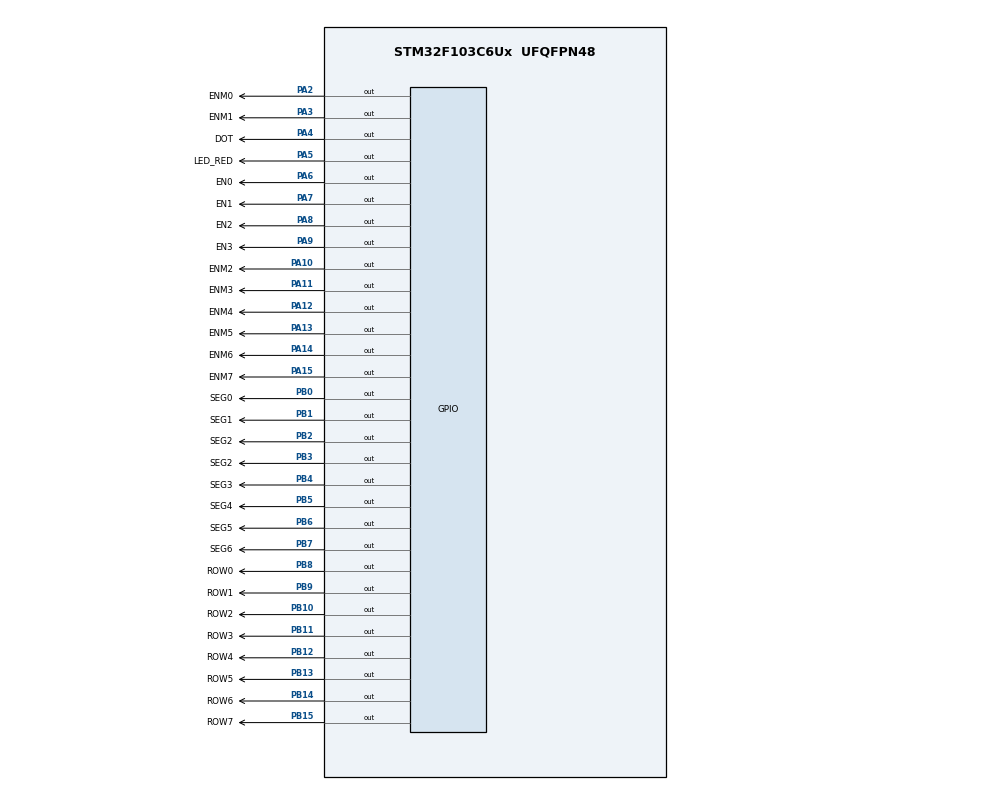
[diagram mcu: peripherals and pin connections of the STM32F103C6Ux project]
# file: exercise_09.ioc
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Mcu.Family=STM32F1
Mcu.Name=STM32F103C6Ux
Mcu.Package=UFQFPN48
NVIC.PriorityGroup=NVIC_PRIORITYGROUP_4
NVIC.TIM2_IRQn=true\:0\:0\:false\:false\:true\:true\:true\:true
PA10.GPIO_Label=ENM2
PA10.Signal=GPIO_Output
PA11.GPIO_Label=ENM3
PA11.Signal=GPIO_Output
PA12.GPIO_Label=ENM4
PA12.Signal=GPIO_Output
PA13.GPIO_Label=ENM5
PA13.Signal=GPIO_Output
PA14.GPIO_Label=ENM6
PA14.Signal=GPIO_Output
PA15.GPIO_Label=ENM7
PA15.Signal=GPIO_Output
PA2.GPIO_Label=ENM0
PA2.Signal=GPIO_Output
PA3.GPIO_Label=ENM1
PA3.Signal=GPIO_Output
PA4.GPIO_Label=DOT
PA4.Signal=GPIO_Output
PA5.GPIO_Label=LED_RED
PA5.Signal=GPIO_Output
PA6.GPIO_Label=EN0
PA6.Signal=GPIO_Output
PA7.GPIO_Label=EN1
PA7.Signal=GPIO_Output
PA8.GPIO_Label=EN2
PA8.Signal=GPIO_Output
PA9.GPIO_Label=EN3
PA9.Signal=GPIO_Output
PB0.GPIO_Label=SEG0
PB0.Signal=GPIO_Output
PB1.GPIO_Label=SEG1
PB1.Signal=GPIO_Output
PB10.GPIO_Label=ROW2
PB10.Signal=GPIO_Output
PB11.GPIO_Label=ROW3
PB11.Signal=GPIO_Output
PB12.GPIO_Label=ROW4
PB12.Signal=GPIO_Output
PB13.GPIO_Label=ROW5
PB13.Signal=GPIO_Output
PB14.GPIO_Label=ROW6
PB14.Signal=GPIO_Output
PB15.GPIO_Label=ROW7
PB15.Signal=GPIO_Output
PB2.GPIO_Label=SEG2
PB2.Signal=GPIO_Output
PB3.GPIO_Label=SEG2
PB3.Signal=GPIO_Output
PB4.GPIO_Label=SEG3
PB4.Signal=GPIO_Output
PB5.GPIO_Label=SEG4
PB5.Signal=GPIO_Output
PB6.GPIO_Label=SEG5
PB6.Signal=GPIO_Output
PB7.GPIO_Label=SEG6
PB7.Signal=GPIO_Output
PB8.GPIO_Label=ROW0
PB8.Signal=GPIO_Output
PB9.GPIO_Label=ROW1
PB9.Signal=GPIO_Output
ProjectManager.HeapSize=0x200
ProjectManager.StackSize=0x400
ProjectManager.TargetToolchain=CMake
RCC.APB1Freq_Value=8000000
RCC.APB2Freq_Value=8000000
TIM2.Period=9
TIM2.Prescaler=7999
VP_SYS_VS_ND.Mode=No_Debug
VP_TIM2_VS_ClockSourceINT.Mode=Internal
board=custom

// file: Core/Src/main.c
/* USER CODE BEGIN Header */
/**
 ******************************************************************************
 * @file           : main.c
 * @brief          : Main program body
 ******************************************************************************
 * @attention
 *
 * Copyright (c) 2025 STMicroelectronics.
 * All rights reserved.
 *
 * This software is licensed under terms that can be found in the LICENSE file
 * in the root directory of this software component.
 * If no LICENSE file comes with this software, it is provided AS-IS.
 *
 ******************************************************************************
 */
/* USER CODE END Header */
#include "main.h"

TIM_HandleTypeDef htim2;

/* USER CODE BEGIN PV */
int hour = 11;
int minute = 8;
int second = 0;

// Variable for 7-segment display
const int MAX_LED = 4;
int index_led = 0;
int led_buffer[4] = {0, 0, 0, 0};

// Variable for timer
int timer_counter = 0;
int timer0_flag = 0;

int timer1_counter = 0;
int timer1_flag = 0;

int timer2_counter = 0;
int timer2_flag = 0;

int TIMER_PERIOD = 10;

// Variable for LED matrix
const int MAX_LED_MATRIX = 8;
int index_led_matrix = 0;

// Buffer to display the character 'A'
uint8_t matrix_buffer[8] = {
    0b00111100,
    0b01000010,
    0b01000010,
    0b01111110,
    0b01000010,
    0b01000010,
    0b01000010,
    0b00000000
};

// Animation state
int scroll_offset = -8;
int scroll_dir = +1;

/* USER CODE END PV */

void SystemClock_Config(void);
static void MX_GPIO_Init(void);
static void MX_TIM2_Init(void);

/* USER CODE BEGIN 0 */
// 7SEG functions
/**
 * @brief  Displays a single digit (0-9) on a 7-segment display by controlling the segment pins.
 * @param  num: The digit to display (0-9).
 * @retval None
 */
static inline void display7SEG(int num)
{
    switch (num)
    {
    case 0: // A B C D E F ON, G OFF
        HAL_GPIO_WritePin(SEG0_GPIO_Port, SEG0_Pin, GPIO_PIN_RESET);
        HAL_GPIO_WritePin(SEG1_GPIO_Port, SEG1_Pin, GPIO_PIN_RESET);
        HAL_GPIO_WritePin(SEG2_GPIO_Port, SEG2_Pin, GPIO_PIN_RESET);
        HAL_GPIO_WritePin(SEG3_GPIO_Port, SEG3_Pin, GPIO_PIN_RESET);
        HAL_GPIO_WritePin(SEG4_GPIO_Port, SEG4_Pin, GPIO_PIN_RESET);
        HAL_GPIO_WritePin(SEG5_GPIO_Port, SEG5_Pin, GPIO_PIN_RESET);
        HAL_GPIO_WritePin(SEG6_GPIO_Port, SEG6_Pin, GPIO_PIN_SET);
        break;
    case 1: // B C ON
        HAL_GPIO_WritePin(SEG0_GPIO_Port, SEG0_Pin, GPIO_PIN_SET);
        HAL_GPIO_WritePin(SEG1_GPIO_Port, SEG1_Pin, GPIO_PIN_RESET);
        HAL_GPIO_WritePin(SEG2_GPIO_Port, SEG2_Pin, GPIO_PIN_RESET);
        HAL_GPIO_WritePin(SEG3_GPIO_Port, SEG3_Pin, GPIO_PIN_SET);
        HAL_GPIO_WritePin(SEG4_GPIO_Port, SEG4_Pin, GPIO_PIN_SET);
        HAL_GPIO_WritePin(SEG5_GPIO_Port, SEG5_Pin, GPIO_PIN_SET);
        HAL_GPIO_WritePin(SEG6_GPIO_Port, SEG6_Pin, GPIO_PIN_SET);
        break;
    case 2: // A B D E G ON
        HAL_GPIO_WritePin(SEG0_GPIO_Port, SEG0_Pin, GPIO_PIN_RESET);
        HAL_GPIO_WritePin(SEG1_GPIO_Port, SEG1_Pin, GPIO_PIN_RESET);
        HAL_GPIO_WritePin(SEG2_GPIO_Port, SEG2_Pin, GPIO_PIN_SET);
        HAL_GPIO_WritePin(SEG3_GPIO_Port, SEG3_Pin, GPIO_PIN_RESET);
        HAL_GPIO_WritePin(SEG4_GPIO_Port, SEG4_Pin, GPIO_PIN_RESET);
        HAL_GPIO_WritePin(SEG5_GPIO_Port, SEG5_Pin, GPIO_PIN_SET);
        HAL_GPIO_WritePin(SEG6_GPIO_Port, SEG6_Pin, GPIO_PIN_RESET);
        break;
    case 3: // A B C D G ON
        HAL_GPIO_WritePin(SEG0_GPIO_Port, SEG0_Pin, GPIO_PIN_RESET);
        HAL_GPIO_WritePin(SEG1_GPIO_Port, SEG1_Pin, GPIO_PIN_RESET);
        HAL_GPIO_WritePin(SEG2_GPIO_Port, SEG2_Pin, GPIO_PIN_RESET);
        HAL_GPIO_WritePin(SEG3_GPIO_Port, SEG3_Pin, GPIO_PIN_RESET);
        HAL_GPIO_WritePin(SEG4_GPIO_Port, SEG4_Pin, GPIO_PIN_SET);
        HAL_GPIO_WritePin(SEG5_GPIO_Port, SEG5_Pin, GPIO_PIN_SET);
        HAL_GPIO_WritePin(SEG6_GPIO_Port, SEG6_Pin, GPIO_PIN_RESET);
        break;
    case 4: // B C F G ON
        HAL_GPIO_WritePin(SEG0_GPIO_Port, SEG0_Pin, GPIO_PIN_SET);
        HAL_GPIO_WritePin(SEG1_GPIO_Port, SEG1_Pin, GPIO_PIN_RESET);
        HAL_GPIO_WritePin(SEG2_GPIO_Port, SEG2_Pin, GPIO_PIN_RESET);
        HAL_GPIO_WritePin(SEG3_GPIO_Port, SEG3_Pin, GPIO_PIN_SET);
        HAL_GPIO_WritePin(SEG4_GPIO_Port, SEG4_Pin, GPIO_PIN_SET);
        HAL_GPIO_WritePin(SEG5_GPIO_Port, SEG5_Pin, GPIO_PIN_RESET);
        HAL_GPIO_WritePin(SEG6_GPIO_Port, SEG6_Pin, GPIO_PIN_RESET);
        break;
    case 5: // A C D F G ON
        HAL_GPIO_WritePin(SEG0_GPIO_Port, SEG0_Pin, GPIO_PIN_RESET);
        HAL_GPIO_WritePin(SEG1_GPIO_Port, SEG1_Pin, GPIO_PIN_SET);
        HAL_GPIO_WritePin(SEG2_GPIO_Port, SEG2_Pin, GPIO_PIN_RESET);
        HAL_GPIO_WritePin(SEG3_GPIO_Port, SEG3_Pin, GPIO_PIN_RESET);
        HAL_GPIO_WritePin(SEG4_GPIO_Port, SEG4_Pin, GPIO_PIN_SET);
        HAL_GPIO_WritePin(SEG5_GPIO_Port, SEG5_Pin, GPIO_PIN_RESET);
        HAL_GPIO_WritePin(SEG6_GPIO_Port, SEG6_Pin, GPIO_PIN_RESET);
        break;
    case 6: // A C D E F G ON
        HAL_GPIO_WritePin(SEG0_GPIO_Port, SEG0_Pin, GPIO_PIN_RESET);
        HAL_GPIO_WritePin(SEG1_GPIO_Port, SEG1_Pin, GPIO_PIN_SET);
        HAL_GPIO_WritePin(SEG2_GPIO_Port, SEG2_Pin, GPIO_PIN_RESET);
        HAL_GPIO_WritePin(SEG3_GPIO_Port, SEG3_Pin, GPIO_PIN_RESET);
        HAL_GPIO_WritePin(SEG4_GPIO_Port, SEG4_Pin, GPIO_PIN_RESET);
        HAL_GPIO_WritePin(SEG5_GPIO_Port, SEG5_Pin, GPIO_PIN_RESET);
        HAL_GPIO_WritePin(SEG6_GPIO_Port, SEG6_Pin, GPIO_PIN_RESET);
        break;
    case 7: // A B C ON
        HAL_GPIO_WritePin(SEG0_GPIO_Port, SEG0_Pin, GPIO_PIN_RESET);
        HAL_GPIO_WritePin(SEG1_GPIO_Port, SEG1_Pin, GPIO_PIN_RESET);
        HAL_GPIO_WritePin(SEG2_GPIO_Port, SEG2_Pin, GPIO_PIN_RESET);
        HAL_GPIO_WritePin(SEG3_GPIO_Port, SEG3_Pin, GPIO_PIN_SET);
        HAL_GPIO_WritePin(SEG4_GPIO_Port, SEG4_Pin, GPIO_PIN_SET);
        HAL_GPIO_WritePin(SEG5_GPIO_Port, SEG5_Pin, GPIO_PIN_SET);
        HAL_GPIO_WritePin(SEG6_GPIO_Port, SEG6_Pin, GPIO_PIN_SET);
        break;
    case 8: // A B C D E F G ON
        HAL_GPIO_WritePin(SEG0_GPIO_Port, SEG0_Pin, GPIO_PIN_RESET);
        HAL_GPIO_WritePin(SEG1_GPIO_Port, SEG1_Pin, GPIO_PIN_RESET);
        HAL_GPIO_WritePin(SEG2_GPIO_Port, SEG2_Pin, GPIO_PIN_RESET);
        HAL_GPIO_WritePin(SEG3_GPIO_Port, SEG3_Pin, GPIO_PIN_RESET);
        HAL_GPIO_WritePin(SEG4_GPIO_Port, SEG4_Pin, GPIO_PIN_RESET);
        HAL_GPIO_WritePin(SEG5_GPIO_Port, SEG5_Pin, GPIO_PIN_RESET);
        HAL_GPIO_WritePin(SEG6_GPIO_Port, SEG6_Pin, GPIO_PIN_RESET);
        break;
    case 9: // A B C D F G ON
        HAL_GPIO_WritePin(SEG0_GPIO_Port, SEG0_Pin, GPIO_PIN_RESET);
        HAL_GPIO_WritePin(SEG1_GPIO_Port, SEG1_Pin, GPIO_PIN_RESET);
        HAL_GPIO_WritePin(SEG2_GPIO_Port, SEG2_Pin, GPIO_PIN_RESET);
        HAL_GPIO_WritePin(SEG3_GPIO_Port, SEG3_Pin, GPIO_PIN_RESET);
        HAL_GPIO_WritePin(SEG4_GPIO_Port, SEG4_Pin, GPIO_PIN_SET);
        HAL_GPIO_WritePin(SEG5_GPIO_Port, SEG5_Pin, GPIO_PIN_RESET);
        HAL_GPIO_WritePin(SEG6_GPIO_Port, SEG6_Pin, GPIO_PIN_RESET);
        break;
    default: // All OFF
        HAL_GPIO_WritePin(SEG0_GPIO_Port, SEG0_Pin, GPIO_PIN_SET);
        HAL_GPIO_WritePin(SEG1_GPIO_Port, SEG1_Pin, GPIO_PIN_SET);
        HAL_GPIO_WritePin(SEG2_GPIO_Port, SEG2_Pin, GPIO_PIN_SET);
        HAL_GPIO_WritePin(SEG3_GPIO_Port, SEG3_Pin, GPIO_PIN_SET);
        HAL_GPIO_WritePin(SEG4_GPIO_Port, SEG4_Pin, GPIO_PIN_SET);
        HAL_GPIO_WritePin(SEG5_GPIO_Port, SEG5_Pin, GPIO_PIN_SET);
        HAL_GPIO_WritePin(SEG6_GPIO_Port, SEG6_Pin, GPIO_PIN_SET);
        break;
    }
}

/**
 * @brief  Disables all 7-segment displays by setting their enable pins high.
 * @retval None
 */
static inline void disable_all_7seg(void)
{
    HAL_GPIO_WritePin(EN0_GPIO_Port, EN0_Pin, GPIO_PIN_SET);
    HAL_GPIO_WritePin(EN1_GPIO_Port, EN1_Pin, GPIO_PIN_SET);
    HAL_GPIO_WritePin(EN2_GPIO_Port, EN2_Pin, GPIO_PIN_SET);
    HAL_GPIO_WritePin(EN3_GPIO_Port, EN3_Pin, GPIO_PIN_SET);
}

/**
 * @brief  Enables the specified 7-segment display based on the given index.
 * @param  idx: The index of the 7-segment display to enable (0 to 3).
 * @retval None
 */
static inline void enable_7seg_idx(uint8_t idx)
{
    switch (idx)
    {
    case 0:
        HAL_GPIO_WritePin(EN0_GPIO_Port, EN0_Pin, GPIO_PIN_RESET);
        break;
    case 1:
        HAL_GPIO_WritePin(EN1_GPIO_Port, EN1_Pin, GPIO_PIN_RESET);
        break;
    case 2:
        HAL_GPIO_WritePin(EN2_GPIO_Port, EN2_Pin, GPIO_PIN_RESET);
        break;
    case 3:
        HAL_GPIO_WritePin(EN3_GPIO_Port, EN3_Pin, GPIO_PIN_RESET);
        break;
    }
}

/**
 * @brief  Updates the specified 7-segment display with the corresponding value from led_buffer.
 * @param  index: The index of the 7-segment display to update (0 to 3).
 * @retval None
 */
void update7SEG(int index)
{
    // First, turn off all segment drivers to prevent "ghosting"
    disable_all_7seg();

    // Use the index to select which 7-segment display to activate
    // and which number from the buffer to show.
    switch (index)
    {
    case 0:
        // Display the first number (led_buffer[0]) on the first 7-segment display
        display7SEG(led_buffer[0]);
        enable_7seg_idx(0);
        break;

    case 1:
        // Display the second number (led_buffer[1]) on the second 7-segment display
        display7SEG(led_buffer[1]);
        enable_7seg_idx(1);
        break;

    case 2:
        // Display the third number (led_buffer[2]) on the third 7-segment display
        display7SEG(led_buffer[2]);
        enable_7seg_idx(2);
        break;

    case 3:
        // Display the fourth number (led_buffer[3]) on the fourth 7-segment display
        display7SEG(led_buffer[3]);
        enable_7seg_idx(3);
        break;

    default:
        break;
    }
}

/**
 * @brief  Populates the led_buffer array with the correct digits for the clock.
 * @retval None
 */
void updateClockBuffer()
{
    led_buffer[0] = hour / 10;
    led_buffer[1] = hour % 10;

    led_buffer[2] = minute / 10;
    led_buffer[3] = minute % 10;
}

// Timer functions
void setTimer0(int duration)
{
    timer_counter = duration / TIMER_PERIOD;
    timer0_flag = 0;
}

void timer_run(void)
{
    if (timer_counter > 0)
    {
        timer_counter--;
        if (timer_counter == 0)
        {
            timer0_flag = 1;
        }
    }
}

void setTimer1(int duration)
{
    timer1_counter = duration / TIMER_PERIOD;
    timer1_flag = 0;
}

void timer1_run(void)
{
    if (timer1_counter > 0)
    {
        timer1_counter--;
        if (timer1_counter == 0)
        {
            timer1_flag = 1;
        }
    }
}

void setTimer2(int duration)
{
    timer2_counter = duration / TIMER_PERIOD;
    timer2_flag = 0;
}

void timer2_run(void)
{
    if (timer2_counter > 0)
    {
        timer2_counter--;
        if (timer2_counter == 0)
        {
            timer2_flag = 1;
        }
    }
}

// LED matrix functions
static inline void setRow(uint8_t idx, GPIO_PinState pinState)
{
    switch (idx)
    {
    case 0:
        HAL_GPIO_WritePin(ROW0_GPIO_Port, ROW0_Pin, pinState);
        break;
    case 1:
        HAL_GPIO_WritePin(ROW1_GPIO_Port, ROW1_Pin, pinState);
        break;
    case 2:
        HAL_GPIO_WritePin(ROW2_GPIO_Port, ROW2_Pin, pinState);
        break;
    case 3:
        HAL_GPIO_WritePin(ROW3_GPIO_Port, ROW3_Pin, pinState);
        break;
    case 4:
        HAL_GPIO_WritePin(ROW4_GPIO_Port, ROW4_Pin, pinState);
        break;
    case 5:
        HAL_GPIO_WritePin(ROW5_GPIO_Port, ROW5_Pin, pinState);
        break;
    case 6:
        HAL_GPIO_WritePin(ROW6_GPIO_Port, ROW6_Pin, pinState);
        break;
    case 7:
        HAL_GPIO_WritePin(ROW7_GPIO_Port, ROW7_Pin, pinState);
        break;
    }
}

void displayMatrixRow(uint8_t value)
{
    for (uint8_t i = 0; i < 8; i++)
    {
        GPIO_PinState pinState = (value & (1U << i)) ? GPIO_PIN_RESET : GPIO_PIN_SET;
        setRow(i, pinState);
    }
}

static inline void disableAllMatrixCols(void)
{
    HAL_GPIO_WritePin(ENM0_GPIO_Port, ENM0_Pin, GPIO_PIN_SET);
    HAL_GPIO_WritePin(ENM1_GPIO_Port, ENM1_Pin, GPIO_PIN_SET);
    HAL_GPIO_WritePin(ENM2_GPIO_Port, ENM2_Pin, GPIO_PIN_SET);
    HAL_GPIO_WritePin(ENM3_GPIO_Port, ENM3_Pin, GPIO_PIN_SET);
    HAL_GPIO_WritePin(ENM4_GPIO_Port, ENM4_Pin, GPIO_PIN_SET);
    HAL_GPIO_WritePin(ENM5_GPIO_Port, ENM5_Pin, GPIO_PIN_SET);
    HAL_GPIO_WritePin(ENM6_GPIO_Port, ENM6_Pin, GPIO_PIN_SET);
    HAL_GPIO_WritePin(ENM7_GPIO_Port, ENM7_Pin, GPIO_PIN_SET);
}

static inline void enableMatrixCol(int index)
{
    switch (index)
    {
    case 0:
        HAL_GPIO_WritePin(ENM0_GPIO_Port, ENM0_Pin, GPIO_PIN_RESET);
        break;
    case 1:
        HAL_GPIO_WritePin(ENM1_GPIO_Port, ENM1_Pin, GPIO_PIN_RESET);
        break;
    case 2:
        HAL_GPIO_WritePin(ENM2_GPIO_Port, ENM2_Pin, GPIO_PIN_RESET);
        break;
    case 3:
        HAL_GPIO_WritePin(ENM3_GPIO_Port, ENM3_Pin, GPIO_PIN_RESET);
        break;
    case 4:
        HAL_GPIO_WritePin(ENM4_GPIO_Port, ENM4_Pin, GPIO_PIN_RESET);
        break;
    case 5:
        HAL_GPIO_WritePin(ENM5_GPIO_Port, ENM5_Pin, GPIO_PIN_RESET);
        break;
    case 6:
        HAL_GPIO_WritePin(ENM6_GPIO_Port, ENM6_Pin, GPIO_PIN_RESET);
        break;
    case 7:
        HAL_GPIO_WritePin(ENM7_GPIO_Port, ENM7_Pin, GPIO_PIN_RESET);
        break;
    }
}

static inline uint8_t getColumnWithOffset(int phys_col)
{
    int src = phys_col - scroll_offset; // +offset moves picture to the right
    if (src < 0 || src >= 8)
        return 0x00; // out of range = blank
    return matrix_buffer[src];
}

void updateLEDMatrix(int index)
{
    disableAllMatrixCols();
    displayMatrixRow(getColumnWithOffset(index));
    enableMatrixCol(index);
}

/* USER CODE END 0 */

int main(void)
{

    /* MCU Configuration--------------------------------------------------------*/

    /* Reset of all peripherals, Initializes the Flash interface and the Systick. */
    HAL_Init();

    /* Configure the system clock */
    SystemClock_Config();

    /* Initialize all configured peripherals */
    MX_GPIO_Init();
    MX_TIM2_Init();
    /* USER CODE BEGIN 2 */
    HAL_TIM_Base_Start_IT(&htim2);
    updateClockBuffer();
    update7SEG(index_led);
    /* USER CODE END 2 */

    /* Infinite loop */
    /* USER CODE BEGIN WHILE */
    setTimer0(1000);
    setTimer1(10);
    setTimer2(100); // Animation timer
    while (1)
    {
        /* USER CODE END WHILE */

        /* USER CODE BEGIN 3 */
        if (timer0_flag == 1)
        {
            setTimer0(1000);
            second++;

            if (second >= 60)
            {
                second = 0;
                minute++;
            }
            if (minute >= 60)
            {
                minute = 0;
                hour++;
            }
            if (hour >= 24)
            {
                hour = 0;
            }

            updateClockBuffer();

            index_led = (index_led + 1) % MAX_LED;

            HAL_GPIO_TogglePin(DOT_GPIO_Port, DOT_Pin);

            update7SEG(index_led);
        }

        if (timer1_flag == 1)
        {
            setTimer1(10);

            // LED matrix update
            updateLEDMatrix(index_led_matrix);
            index_led_matrix++;
            if (index_led_matrix >= MAX_LED_MATRIX)
            {
                index_led_matrix = 0;
            }
        }

        if (timer2_flag == 1)
        {
            setTimer2(100);

            // Animation update
            scroll_offset += scroll_dir;
            if (scroll_offset > 8)
            {
                scroll_offset = 8;
                scroll_dir = -1;
            }
            else if (scroll_offset < -8)
            {
                scroll_offset = -8;
                scroll_dir = +1;
            }
        }
    }
    /* USER CODE END 3 */
}

void SystemClock_Config(void)
{
    RCC_OscInitTypeDef RCC_OscInitStruct = {0};
    RCC_ClkInitTypeDef RCC_ClkInitStruct = {0};

    /** Initializes the RCC Oscillators according to the specified parameters
     * in the RCC_OscInitTypeDef structure.
     */
    RCC_OscInitStruct.OscillatorType = RCC_OSCILLATORTYPE_HSI;
    RCC_OscInitStruct.HSIState = RCC_HSI_ON;
    RCC_OscInitStruct.HSICalibrationValue = RCC_HSICALIBRATION_DEFAULT;
    RCC_OscInitStruct.PLL.PLLState = RCC_PLL_NONE;
    if (HAL_RCC_OscConfig(&RCC_OscInitStruct) != HAL_OK)
    {
        Error_Handler();
    }

    /** Initializes the CPU, AHB and APB buses clocks
     */
    RCC_ClkInitStruct.ClockType = RCC_CLOCKTYPE_HCLK | RCC_CLOCKTYPE_SYSCLK | RCC_CLOCKTYPE_PCLK1 | RCC_CLOCKTYPE_PCLK2;
    RCC_ClkInitStruct.SYSCLKSource = RCC_SYSCLKSOURCE_HSI;
    RCC_ClkInitStruct.AHBCLKDivider = RCC_SYSCLK_DIV1;
    RCC_ClkInitStruct.APB1CLKDivider = RCC_HCLK_DIV1;
    RCC_ClkInitStruct.APB2CLKDivider = RCC_HCLK_DIV1;

    if (HAL_RCC_ClockConfig(&RCC_ClkInitStruct, FLASH_LATENCY_0) != HAL_OK)
    {
        Error_Handler();
    }
}

static void MX_TIM2_Init(void)
{

    TIM_ClockConfigTypeDef sClockSourceConfig = {0};
    TIM_MasterConfigTypeDef sMasterConfig = {0};

    htim2.Instance = TIM2;
    htim2.Init.Prescaler = 7999;
    htim2.Init.CounterMode = TIM_COUNTERMODE_UP;
    htim2.Init.Period = 9;
    htim2.Init.ClockDivision = TIM_CLOCKDIVISION_DIV1;
    htim2.Init.AutoReloadPreload = TIM_AUTORELOAD_PRELOAD_DISABLE;
    if (HAL_TIM_Base_Init(&htim2) != HAL_OK)
    {
        Error_Handler();
    }
    sClockSourceConfig.ClockSource = TIM_CLOCKSOURCE_INTERNAL;
    if (HAL_TIM_ConfigClockSource(&htim2, &sClockSourceConfig) != HAL_OK)
    {
        Error_Handler();
    }
    sMasterConfig.MasterOutputTrigger = TIM_TRGO_RESET;
    sMasterConfig.MasterSlaveMode = TIM_MASTERSLAVEMODE_DISABLE;
    if (HAL_TIMEx_MasterConfigSynchronization(&htim2, &sMasterConfig) != HAL_OK)
    {
        Error_Handler();
    }
}

static void MX_GPIO_Init(void)
{
    GPIO_InitTypeDef GPIO_InitStruct = {0};

    /* GPIO Ports Clock Enable */
    __HAL_RCC_GPIOA_CLK_ENABLE();
    __HAL_RCC_GPIOB_CLK_ENABLE();

    /*Configure GPIO pin Output Level */
    HAL_GPIO_WritePin(GPIOA, ENM0_Pin | ENM1_Pin | DOT_Pin | LED_RED_Pin | EN0_Pin | EN1_Pin | EN2_Pin | EN3_Pin | ENM2_Pin | ENM3_Pin | ENM4_Pin | ENM5_Pin | ENM6_Pin | ENM7_Pin, GPIO_PIN_SET);

    /*Configure GPIO pin Output Level */
    HAL_GPIO_WritePin(GPIOB, ROW2_Pin | ROW3_Pin | ROW4_Pin | ROW5_Pin | ROW6_Pin | ROW7_Pin | ROW0_Pin | ROW1_Pin, GPIO_PIN_RESET);
    HAL_GPIO_WritePin(GPIOB, SEG0_Pin | SEG1_Pin | SEG2_Pin | SEG3_Pin | SEG4_Pin | SEG5_Pin | SEG6_Pin, GPIO_PIN_SET);

    /*Configure GPIO pins : ENM0_Pin ENM1_Pin DOT_Pin LED_RED_Pin
                             EN0_Pin EN1_Pin EN2_Pin EN3_Pin
                             ENM2_Pin ENM3_Pin ENM4_Pin ENM5_Pin
                             ENM6_Pin ENM7_Pin */
    GPIO_InitStruct.Pin = ENM0_Pin | ENM1_Pin | DOT_Pin | LED_RED_Pin | EN0_Pin | EN1_Pin | EN2_Pin | EN3_Pin | ENM2_Pin | ENM3_Pin | ENM4_Pin | ENM5_Pin | ENM6_Pin | ENM7_Pin;
    GPIO_InitStruct.Mode = GPIO_MODE_OUTPUT_PP;
    GPIO_InitStruct.Pull = GPIO_NOPULL;
    GPIO_InitStruct.Speed = GPIO_SPEED_FREQ_LOW;
    HAL_GPIO_Init(GPIOA, &GPIO_InitStruct);

    /*Configure GPIO pins : SEG0_Pin SEG1_Pin SEG2_Pin ROW2_Pin
                             ROW3_Pin ROW4_Pin ROW5_Pin ROW6_Pin
                             ROW7_Pin SEG2B3_Pin SEG3_Pin SEG4_Pin
                             SEG5_Pin SEG6_Pin ROW0_Pin ROW1_Pin */
    GPIO_InitStruct.Pin = SEG0_Pin | SEG1_Pin | SEG2_Pin | ROW2_Pin | ROW3_Pin | ROW4_Pin | ROW5_Pin | ROW6_Pin | ROW7_Pin | SEG3_Pin | SEG4_Pin | SEG5_Pin | SEG6_Pin | ROW0_Pin | ROW1_Pin;
    GPIO_InitStruct.Mode = GPIO_MODE_OUTPUT_PP;
    GPIO_InitStruct.Pull = GPIO_NOPULL;
    GPIO_InitStruct.Speed = GPIO_SPEED_FREQ_LOW;
    HAL_GPIO_Init(GPIOB, &GPIO_InitStruct);

}

/* USER CODE BEGIN 4 */
void HAL_TIM_PeriodElapsedCallback(TIM_HandleTypeDef *htim)
{
    if (htim->Instance == TIM2)
    {
        timer_run();
        timer1_run();
        timer2_run();
    }
}

/* USER CODE END 4 */

void Error_Handler(void)
{
    __disable_irq();
    while (1)
    {
    }
}
